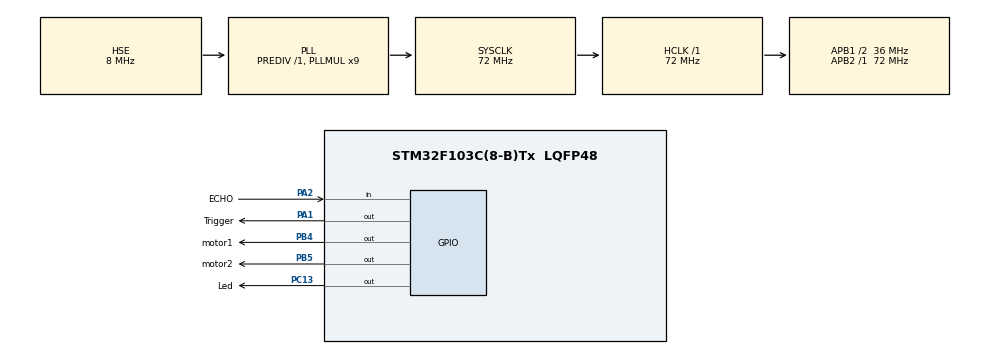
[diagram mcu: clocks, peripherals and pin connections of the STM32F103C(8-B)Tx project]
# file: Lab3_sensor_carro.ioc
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Mcu.Family=STM32F1
Mcu.Name=STM32F103C(8-B)Tx
Mcu.Package=LQFP48
NVIC.PriorityGroup=NVIC_PRIORITYGROUP_4
NVIC.TIM2_IRQn=true\:0\:0\:false\:false\:true\:true\:true\:true
PA1.GPIO_Label=Trigger
PA1.Signal=GPIO_Output
PA2.GPIO_Label=ECHO
PA2.Signal=GPIO_Input
PB4.GPIO_Label=motor1
PB4.Signal=GPIO_Output
PB5.GPIO_Label=motor2
PB5.Signal=GPIO_Output
PC13-TAMPER-RTC.GPIO_Label=Led
PC13-TAMPER-RTC.Signal=GPIO_Output
PD0-OSC_IN.Mode=HSE-External-Oscillator
PD0-OSC_IN.Signal=RCC_OSC_IN
PD1-OSC_OUT.Mode=HSE-External-Oscillator
PD1-OSC_OUT.Signal=RCC_OSC_OUT
ProjectManager.HeapSize=0x200
ProjectManager.StackSize=0x400
ProjectManager.TargetToolchain=EWARM V8.32
RCC.AHBFreq_Value=72000000
RCC.APB1CLKDivider=RCC_HCLK_DIV2
RCC.APB1Freq_Value=36000000
RCC.APB1TimFreq_Value=72000000
RCC.APB2Freq_Value=72000000
RCC.APB2TimFreq_Value=72000000
RCC.HCLKFreq_Value=72000000
RCC.PLLMUL=RCC_PLL_MUL9
RCC.PLLSourceVirtual=RCC_PLLSOURCE_HSE
RCC.SYSCLKFreq_VALUE=72000000
RCC.SYSCLKSource=RCC_SYSCLKSOURCE_PLLCLK
RCC.USBFreq_Value=72000000
TIM2.Period=59999
TIM2.TIM_MasterOutputTrigger=TIM_TRGO_RESET
VP_SYS_VS_ND.Mode=No_Debug
VP_TIM2_VS_ClockSourceINT.Mode=Internal
board=custom

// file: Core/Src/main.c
/* USER CODE BEGIN Header */
/**
  ******************************************************************************
  * @file           : main.c
  * @brief          : Main program body
  ******************************************************************************
  * @attention
  *
  * Copyright (c) 2026 STMicroelectronics.
  * All rights reserved.
  *
  * This software is licensed under terms that can be found in the LICENSE file
  * in the root directory of this software component.
  * If no LICENSE file comes with this software, it is provided AS-IS.
  *
  ******************************************************************************
  */
/* USER CODE END Header */
#include "main.h"

/* USER CODE BEGIN Includes */
	#include <string.h>
	#include <math.h>
/* USER CODE END Includes */

/* USER CODE BEGIN PD */
#define V_son 0.034 // 0.034 cm/us
/* USER CODE END PD */

TIM_HandleTypeDef htim2;

/* USER CODE BEGIN PV */
uint8_t ban1 = 0;
uint8_t led = 0;
uint32_t ms_transcurridos = 0;

uint32_t contador = 0;
uint8_t  echo_medido = 0;
uint32_t ultimo_disparo_ms = 0;

float x = 0;   // distancia en cm

/* USER CODE END PV */

void SystemClock_Config(void);
static void MX_GPIO_Init(void);
static void MX_TIM2_Init(void);

int main(void)
{

  /* MCU Configuration--------------------------------------------------------*/

  /* Reset of all peripherals, Initializes the Flash interface and the Systick. */
  HAL_Init();

  /* Configure the system clock */
  SystemClock_Config();

  /* Initialize all configured peripherals */
  MX_GPIO_Init();
  MX_TIM2_Init();
  /* USER CODE BEGIN 2 */
  HAL_TIM_Base_Start_IT(&htim2);
  /* USER CODE END 2 */

  /* Infinite loop */
  while (1)
  {

    /* USER CODE BEGIN 3 */
	    if (ban1 == 1)
	    {
	        ban1 = 0;

	        if (ms_transcurridos % 500 == 0)
	        {
	            if (led == 0) { led = 1; } else { led = 0; }
	            HAL_GPIO_WritePin(GPIOC, GPIO_PIN_13, led);
	        }

	        if ((ms_transcurridos - ultimo_disparo_ms) >= 60)
	        {
	            ultimo_disparo_ms = ms_transcurridos;
	            enviar_señal();
	        }
	    }

	    if (echo_medido == 1)
	    {
	        echo_medido = 0;

	        x = contador / 58.0;   // distancia en cm

	        if (x <= 10)
	        {
	            HAL_GPIO_WritePin(GPIOB, GPIO_PIN_4, GPIO_PIN_RESET);
	            HAL_GPIO_WritePin(GPIOB, GPIO_PIN_5, GPIO_PIN_RESET);
	        }
	        else if (x > 12)
	        {
	            HAL_GPIO_WritePin(GPIOB, GPIO_PIN_4, GPIO_PIN_SET);
	            HAL_GPIO_WritePin(GPIOB, GPIO_PIN_5, GPIO_PIN_SET);
	        }
	    }
  /* USER CODE END 3 */
}

void SystemClock_Config(void)
{
  RCC_OscInitTypeDef RCC_OscInitStruct = {0};
  RCC_ClkInitTypeDef RCC_ClkInitStruct = {0};

  /** Initializes the RCC Oscillators according to the specified parameters
  * in the RCC_OscInitTypeDef structure.
  */
  RCC_OscInitStruct.OscillatorType = RCC_OSCILLATORTYPE_HSE;
  RCC_OscInitStruct.HSEState = RCC_HSE_ON;
  RCC_OscInitStruct.HSEPredivValue = RCC_HSE_PREDIV_DIV1;
  RCC_OscInitStruct.HSIState = RCC_HSI_ON;
  RCC_OscInitStruct.PLL.PLLState = RCC_PLL_ON;
  RCC_OscInitStruct.PLL.PLLSource = RCC_PLLSOURCE_HSE;
  RCC_OscInitStruct.PLL.PLLMUL = RCC_PLL_MUL9;
  if (HAL_RCC_OscConfig(&RCC_OscInitStruct) != HAL_OK)
  {
    Error_Handler();
  }

  /** Initializes the CPU, AHB and APB buses clocks
  */
  RCC_ClkInitStruct.ClockType = RCC_CLOCKTYPE_HCLK|RCC_CLOCKTYPE_SYSCLK
                              |RCC_CLOCKTYPE_PCLK1|RCC_CLOCKTYPE_PCLK2;
  RCC_ClkInitStruct.SYSCLKSource = RCC_SYSCLKSOURCE_PLLCLK;
  RCC_ClkInitStruct.AHBCLKDivider = RCC_SYSCLK_DIV1;
  RCC_ClkInitStruct.APB1CLKDivider = RCC_HCLK_DIV2;
  RCC_ClkInitStruct.APB2CLKDivider = RCC_HCLK_DIV1;

  if (HAL_RCC_ClockConfig(&RCC_ClkInitStruct, FLASH_LATENCY_2) != HAL_OK)
  {
    Error_Handler();
  }
}

static void MX_TIM2_Init(void)
{

  TIM_ClockConfigTypeDef sClockSourceConfig = {0};
  TIM_MasterConfigTypeDef sMasterConfig = {0};

  htim2.Instance = TIM2;
  htim2.Init.Prescaler = 0;
  htim2.Init.CounterMode = TIM_COUNTERMODE_UP;
  htim2.Init.Period = 59999;
  htim2.Init.ClockDivision = TIM_CLOCKDIVISION_DIV1;
  htim2.Init.AutoReloadPreload = TIM_AUTORELOAD_PRELOAD_DISABLE;
  if (HAL_TIM_Base_Init(&htim2) != HAL_OK)
  {
    Error_Handler();
  }
  sClockSourceConfig.ClockSource = TIM_CLOCKSOURCE_INTERNAL;
  if (HAL_TIM_ConfigClockSource(&htim2, &sClockSourceConfig) != HAL_OK)
  {
    Error_Handler();
  }
  sMasterConfig.MasterOutputTrigger = TIM_TRGO_RESET;
  sMasterConfig.MasterSlaveMode = TIM_MASTERSLAVEMODE_DISABLE;
  if (HAL_TIMEx_MasterConfigSynchronization(&htim2, &sMasterConfig) != HAL_OK)
  {
    Error_Handler();
  }

}

static void MX_GPIO_Init(void)
{
  GPIO_InitTypeDef GPIO_InitStruct = {0};

  /* GPIO Ports Clock Enable */
  __HAL_RCC_GPIOC_CLK_ENABLE();
  __HAL_RCC_GPIOD_CLK_ENABLE();
  __HAL_RCC_GPIOA_CLK_ENABLE();
  __HAL_RCC_GPIOB_CLK_ENABLE();

  /*Configure GPIO pin Output Level */
  HAL_GPIO_WritePin(Led_GPIO_Port, Led_Pin, GPIO_PIN_RESET);

  /*Configure GPIO pin Output Level */
  HAL_GPIO_WritePin(Trigger_GPIO_Port, Trigger_Pin, GPIO_PIN_RESET);

  /*Configure GPIO pin Output Level */
  HAL_GPIO_WritePin(GPIOB, motor1_Pin|motor2_Pin, GPIO_PIN_RESET);

  /*Configure GPIO pin : Led_Pin */
  GPIO_InitStruct.Pin = Led_Pin;
  GPIO_InitStruct.Mode = GPIO_MODE_OUTPUT_PP;
  GPIO_InitStruct.Pull = GPIO_NOPULL;
  GPIO_InitStruct.Speed = GPIO_SPEED_FREQ_LOW;
  HAL_GPIO_Init(Led_GPIO_Port, &GPIO_InitStruct);

  /*Configure GPIO pin : Trigger_Pin */
  GPIO_InitStruct.Pin = Trigger_Pin;
  GPIO_InitStruct.Mode = GPIO_MODE_OUTPUT_PP;
  GPIO_InitStruct.Pull = GPIO_NOPULL;
  GPIO_InitStruct.Speed = GPIO_SPEED_FREQ_LOW;
  HAL_GPIO_Init(Trigger_GPIO_Port, &GPIO_InitStruct);

  /*Configure GPIO pin : ECHO_Pin */
  GPIO_InitStruct.Pin = ECHO_Pin;
  GPIO_InitStruct.Mode = GPIO_MODE_INPUT;
  GPIO_InitStruct.Pull = GPIO_NOPULL;
  HAL_GPIO_Init(ECHO_GPIO_Port, &GPIO_InitStruct);

  /*Configure GPIO pins : motor1_Pin motor2_Pin */
  GPIO_InitStruct.Pin = motor1_Pin|motor2_Pin;
  GPIO_InitStruct.Mode = GPIO_MODE_OUTPUT_PP;
  GPIO_InitStruct.Pull = GPIO_NOPULL;
  GPIO_InitStruct.Speed = GPIO_SPEED_FREQ_LOW;
  HAL_GPIO_Init(GPIOB, &GPIO_InitStruct);

}

/* USER CODE BEGIN 4 */
	void HAL_TIM_PeriodElapsedCallback(TIM_HandleTypeDef *htim)
	{
		if (htim->Instance == TIM2)
		{
			ban1 = 1;
			ms_transcurridos = ms_transcurridos + 1;
		}
	}

	void HAL_GPIO_EXTI_Callback(uint16_t GPIO_Pin)
	{
		if (GPIO_Pin == GPIO_PIN_2)
		{
			if (HAL_GPIO_ReadPin(GPIOA, GPIO_PIN_2) == GPIO_PIN_SET)
			{
				__HAL_TIM_SET_COUNTER(&htim3, 0);   // inicia el conteo
			}
			else
			{
				contador = __HAL_TIM_GET_COUNTER(&htim3);  // guarda lo que contó (en us)
				echo_medido = 1;
			}
		}
	}

	void Delay_us(uint16_t us)
	{
		__HAL_TIM_SET_COUNTER(&htim3, 0);
		while (__HAL_TIM_GET_COUNTER(&htim3) < us);
	}

	void enviar_señal(void)
	{
		HAL_GPIO_WritePin(GPIOA, GPIO_PIN_1, GPIO_PIN_SET);
		Delay_us(10);
		HAL_GPIO_WritePin(GPIOA, GPIO_PIN_1, GPIO_PIN_RESET);
	}
/* USER CODE END 4 */

void Error_Handler(void)
{
  __disable_irq();
  while (1)
  {
  }
}
